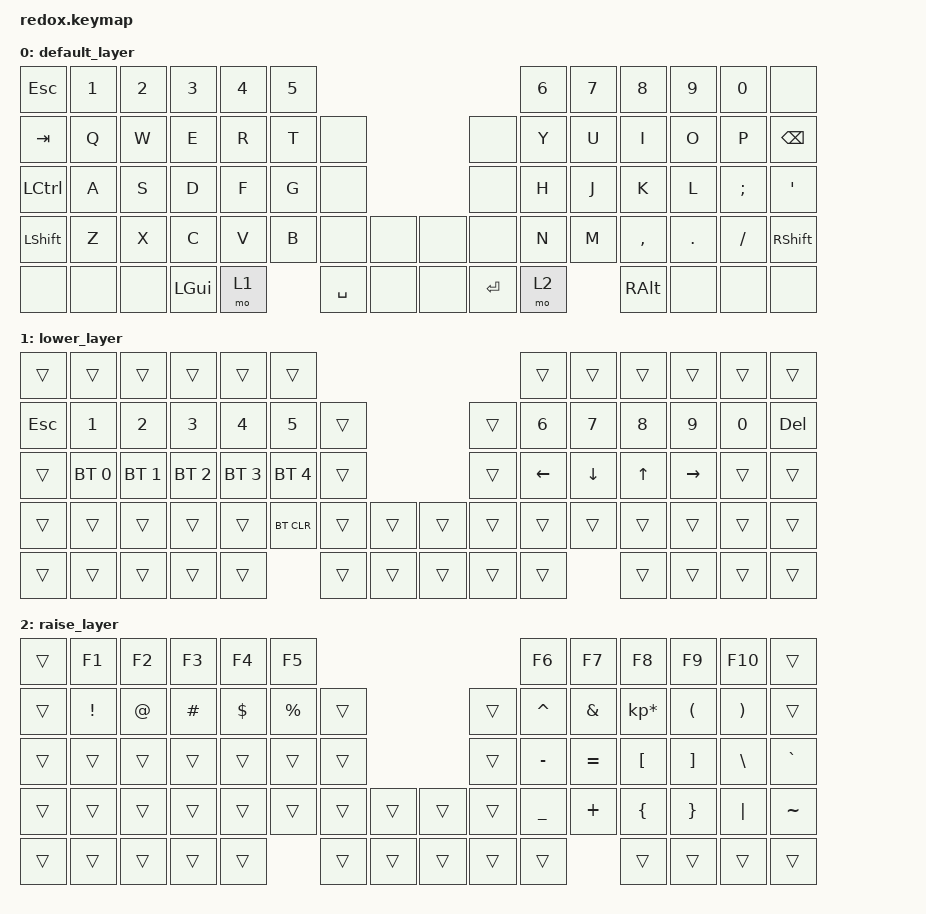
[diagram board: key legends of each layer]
/*
 * Copyright (c) 2021 The ZMK Contributors
 *
 * SPDX-License-Identifier: MIT
 */

#include <behaviors.dtsi>
#include <dt-bindings/zmk/keys.h>
#include <dt-bindings/zmk/bt.h>
#include <dt-bindings/zmk/outputs.h>

/ {
	keymap {
		compatible = "zmk,keymap";

		default_layer {
// ---------------------------------------------------------------------------------------------------------------
// | ESC   | 1   | 2   | 3      | 4    | 5   |                              | 6 | 7 | 8    | 9    | 0  |  n/a   |
// | TAB   | Q   | W   | E      | R    | T   | n/a |               | n/a    | Y | U | I    | O    | P  |  BKSP  |
// | CTRL  | A   | S   | D      | F    | G   | n/a |               | n/a    | H | J | K    | L    | ;  |    '   |
// | SHFT  | Z   | X   | C      | V    | B   | n/a | n/a |  | n/a  | n/a    | N | M | ,    | .    | /  |  SHFT  |
// | n/a   | n/a | n/a | GUI    | LWR        | SPC | n/a |  | n/a  | ENT    |  RSE  | ALT  | n/a | n/a |  n/a   |
			bindings = <
   &kp ESC       &kp N1   &kp N2    &kp N3    &kp N4 &kp N5                                  &kp N6 &kp N7 &kp N8    &kp N9   &kp N0    &none
   &kp TAB       &kp Q    &kp W     &kp E     &kp R  &kp T  &none                   &none    &kp Y  &kp U  &kp I     &kp O    &kp P     &kp BSPC
   &kp LCTRL     &kp A    &kp S     &kp D     &kp F  &kp G  &none                   &none    &kp H  &kp J  &kp K     &kp L    &kp SEMI  &kp SQT
   &kp LSHFT     &kp Z    &kp X     &kp C     &kp V  &kp B  &none      &none &none  &none    &kp N  &kp M  &kp COMMA &kp DOT  &kp FSLH  &kp RSHFT
   &none         &none    &none     &kp LGUI  &mo 1         &kp SPACE  &none &none  &kp  RET &mo 2         &kp RALT  &none    &none     &none
			>;
		};
		lower_layer {
// ---------------------------------------------------------------------------------------------------------------------
// |     |          |          |           |         |       |                   |      |      |     |       |     |     |
// | ESC | 1        | 2        | 3         | 4       | 5     |     |       |     | 6    | 7    | 8   | 9     | 0   | DEL |
// |     | BT1      | BT2      | BT3       | BT4     | BT5   |     |       |     | LEFT | DOWN | UP  | RIGHT |     |     |
// |     |          |          |           |         | BTCLR |     | |   | |     |      |      |     |      |     |     |
// |     |          |          |           |                 |     | |   | |     |             |     |      |     |     |
			bindings = <
   &trans  &trans       &trans       &trans        &trans        &trans                                    &trans   &trans   &trans &trans    &trans &trans
   &kp ESC &kp N1       &kp N2       &kp N3        &kp N4        &kp N5       &trans                &trans &kp N6   &kp N7   &kp N8 &kp N9    &kp N0 &kp DEL
   &trans  &bt BT_SEL 0 &bt BT_SEL 1 &bt BT_SEL 2  &bt BT_SEL 3  &bt BT_SEL 4 &trans                &trans &kp LEFT &kp DOWN &kp UP &kp RIGHT &trans &trans
   &trans  &trans       &trans       &trans        &trans        &bt BT_CLR   &trans &trans  &trans &trans &trans   &trans   &trans  &trans   &trans &trans
   &trans  &trans       &trans       &trans        &trans                     &trans &trans  &trans &trans &trans            &trans  &trans   &trans &trans
			>;
		};
		raise_layer {
// -----------------------------------------------------------------------------
// |  | F1 | F2 | F3 | F4 | F5 |            | F6  | F7 | F8 | F9 | F10   |     |
// |  | !  | @  | #  | $  | %  |  |       | | ^   | &  | *  | (  | )     |     |
// |  |    |    |    |    |    |  |       | | -   | =  | [  | ]  | \     | `   |
// |  |    |    |    |    |    |  | |   | | | _   | +  | {  | }  | "|"   | ~   |
// |  |    |    |    |         |  | |   | | |          |    |    |       |     |
			bindings = <
   &trans &kp F1   &kp F2   &kp F3    &kp F4   &kp F5                                   &kp F6     &kp F7    &kp F8          &kp F9   &kp F10  &trans
   &trans &kp EXCL &kp AT   &kp HASH  &kp DLLR &kp PRCNT &trans                  &trans &kp CARET  &kp AMPS  &kp KP_MULTIPLY &kp LPAR &kp RPAR &trans
   &trans &trans   &trans   &trans    &trans   &trans    &trans                  &trans &kp MINUS  &kp EQUAL &kp LBKT        &kp RBKT &kp BSLH &kp GRAVE
   &trans &trans   &trans   &trans    &trans   &trans    &trans   &trans  &trans &trans &kp UNDER  &kp PLUS  &kp LBRC        &kp RBRC &kp PIPE &kp TILDE
   &trans &trans   &trans   &trans    &trans             &trans   &trans  &trans &trans &trans               &trans          &trans   &trans   &trans
			>;
		};
        };
};
